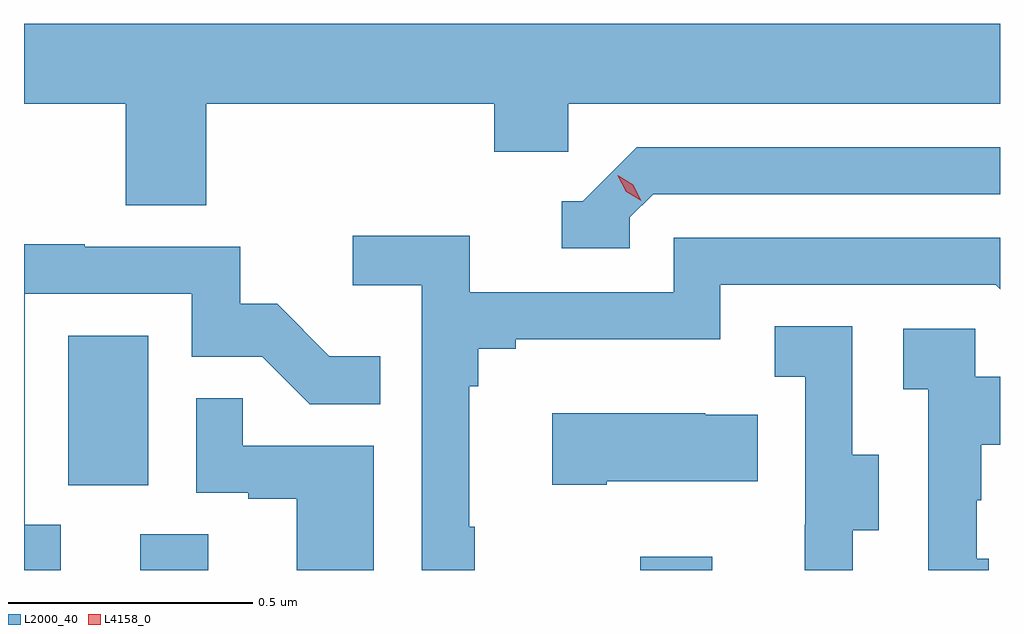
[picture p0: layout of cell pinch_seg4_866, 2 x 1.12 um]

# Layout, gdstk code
import gdstk
lib = gdstk.Library(unit=1e-6, precision=1e-09)
def R(c, l, rs):  # rectangles x0, y0, x1, y1
    for r in rs: c.add(gdstk.rectangle(r[:2], r[2:], *l))
def P(c, l, *ps):  # polygons
    for p in ps: c.add(gdstk.Polygon(p, *l))
L2000_40 = (2000, 40)
L4158_0 = (4158, 0)

pinch_seg4_866 = lib.new_cell('pinch_seg4_866')
R(pinch_seg4_866, L2000_40, [(881.195,795.864,881.335,795.938), (882.22,795.864,882.367,795.892), (881.048,796.038,881.212,796.345)])
P(pinch_seg4_866, L2000_40, [(881.33,796.82),(881.921,796.82),(881.921,796.722),(882.072,796.722),(882.072,796.82),(882.957,796.82),(882.957,796.984),(880.957,796.984),(880.957,796.82),(881.165,796.82),(881.165,796.612),(881.33,796.612)],
  [(882.198,796.587),(882.246,796.635),(882.957,796.635),(882.957,796.731),(882.213,796.731),(882.102,796.62),(882.059,796.62),(882.059,796.524),(882.198,796.524)],
  [(881.881,795.953),(881.869,795.953),(881.869,796.241),(881.888,796.241),(881.888,796.318),(881.965,796.318),(881.965,796.337),(882.384,796.337),(882.384,796.449),(882.948,796.449),(882.957,796.44),(882.957,796.545),(882.288,796.545),(882.288,796.434),(881.87,796.434),(881.87,796.55),(881.631,796.55),(881.631,796.448),(881.772,796.448),(881.772,795.864),(881.881,795.864)],
  [(881.032,795.957),(880.959,795.957),(880.959,796.431),(881.301,796.431),(881.301,796.302),(881.445,796.302),(881.543,796.204),(881.687,796.204),(881.687,796.303),(881.583,796.303),(881.476,796.41),(881.4,796.41),(881.4,796.527),(881.081,796.527),(881.081,796.532),(880.957,796.532),(880.957,795.864),(881.032,795.864)],
  [(882.655,795.946),(882.709,795.946),(882.709,796.101),(882.654,796.101),(882.654,796.364),(882.495,796.364),(882.495,796.261),(882.558,796.261),(882.558,795.957),(882.557,795.957),(882.557,795.864),(882.655,795.864)],
  [(882.934,795.888),(882.909,795.888),(882.909,796.007),(882.919,796.007),(882.919,796.121),(882.957,796.121),(882.957,796.261),(882.906,796.261),(882.906,796.359),(882.759,796.359),(882.759,796.235),(882.81,796.235),(882.81,795.864),(882.934,795.864)],
  [(881.674,796.119),(881.405,796.119),(881.405,796.217),(881.31,796.217),(881.31,796.023),(881.417,796.023),(881.417,796.011),(881.516,796.011),(881.516,795.864),(881.674,795.864)],
  [(882.151,796.046),(882.461,796.046),(882.461,796.183),(882.353,796.183),(882.353,796.186),(882.039,796.186),(882.039,796.039),(882.151,796.039)])
P(pinch_seg4_866, L4158_0, [(882.222,796.621),(882.191,796.64),(882.174,796.672),(882.174,796.673),(882.174,796.673),(882.205,796.654),(882.222,796.621),(882.222,796.621)])

lib.write_gds('pinch_seg4_866.gds')
